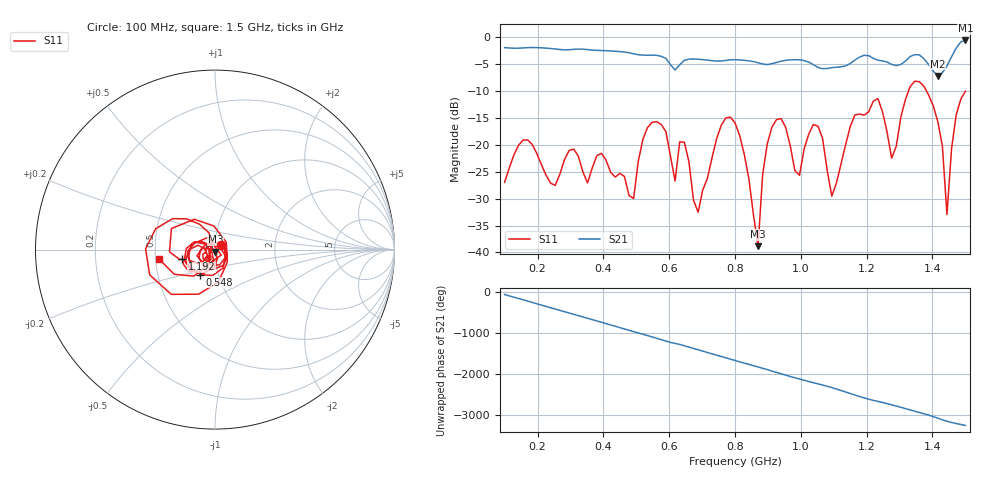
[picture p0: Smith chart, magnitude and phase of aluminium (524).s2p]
! NanoVNA-App
! Date: 2025-09-25 14:59:21
! Start: 100MHz Stop: 1,5GHz Points: 101
! S-Parameter data: F S11 S21 S12 S22
# Hz S RI R 50
!  Frequency  S11_Real  S11_Imag  S21_Real  S21_Imag  S12_Real  S12_Imag  S22_Real  S22_Imag
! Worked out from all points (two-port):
!   101 points, 100 MHz to 1.5 GHz, reference 50 ohm
!   highest |S21| = -0.59 dB at 1.5 GHz (marker M1); lowest = -7.2 dB at 1.416 GHz (marker M2)
!   |S21| within 3 dB of the highest: start of sweep to 577.7 MHz; 1.332 GHz to 1.366 GHz (34.52 MHz wide, 2.56 % of centre) (the widest 2 of 4)
!   lowest |S11| = -38.8 dB at 870 MHz (marker M3), VSWR 1.02, Z = 50.2 - j1.12 ohm
!   |S11| at or under -10 dB: start of sweep to 1.327 GHz; 1.382 GHz to end of sweep
!   S12 and S22 are empty: the file has one direction only
!   S11 on the Smith chart (normalised r, x): 100 MHz: 1.07, +0.06; 548 MHz: 0.82, -0.23; 1.192 GHz: 0.69, -0.08; 1.5 GHz: 0.52, -0.06
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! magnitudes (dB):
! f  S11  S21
! 100 MHz  -27.0  -1.9
! 156 MHz  -19.1  -2.0
! 338 MHz  -25.0  -2.2
! 492 MHz  -30.0  -3.1
! 548 MHz  -15.8  -3.3
! 576 MHz  -16.2  -3.5
! 646 MHz  -19.5  -4.3
! 688 MHz  -32.5  -4.1
! 800 MHz  -15.9  -4.2
! 870 MHz  -38.8  -4.7
! 912 MHz  -16.7  -4.9
! 996 MHz  -25.7  -4.2
! 1.038 GHz  -16.2  -5.1
! 1.094 GHz  -29.5  -5.6
! 1.192 GHz  -14.5  -3.4
! 1.234 GHz  -11.4  -4.2
! 1.276 GHz  -22.5  -5.0
! 1.346 GHz  -8.2  -3.2
! 1.416 GHz  -15.6  -7.2
! 1.444 GHz  -32.9  -5.3
! 1.472 GHz  -14.4  -2.0
! 1.5 GHz  -10.0  -0.6
